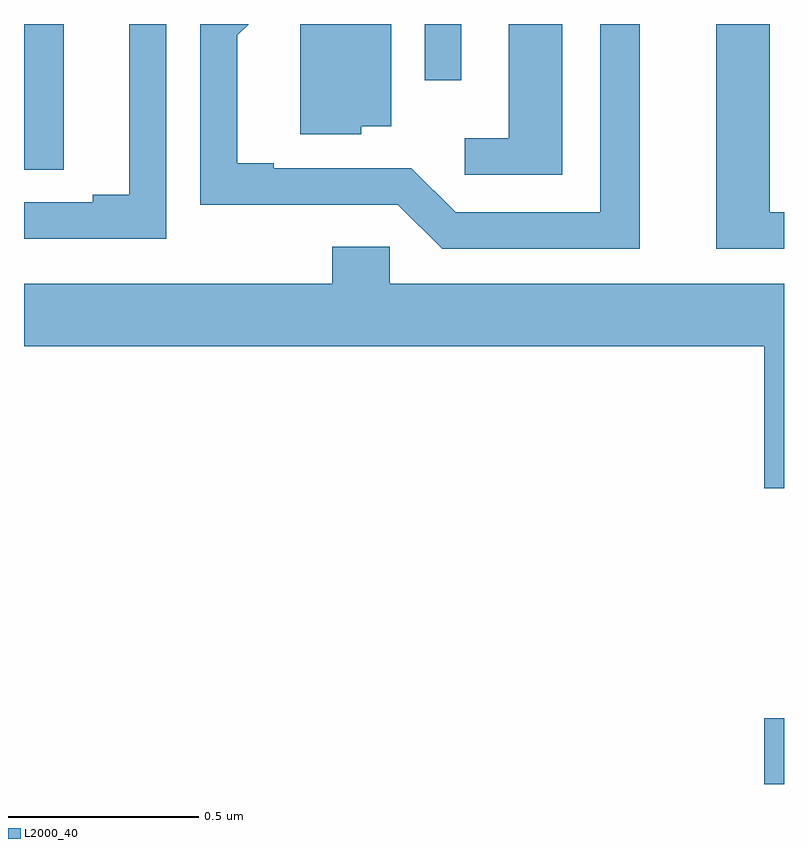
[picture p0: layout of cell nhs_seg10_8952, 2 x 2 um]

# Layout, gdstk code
import gdstk
lib = gdstk.Library(unit=1e-6, precision=1e-09)
def R(c, l, rs):  # rectangles x0, y0, x1, y1
    for r in rs: c.add(gdstk.rectangle(r[:2], r[2:], *l))
def P(c, l, *ps):  # polygons
    for p in ps: c.add(gdstk.Polygon(p, *l))
L2000_40 = (2000, 40)

nhs_seg10_8952 = lib.new_cell('nhs_seg10_8952')
R(nhs_seg10_8952, L2000_40, [(224.948,1296.5,225,1296.673), (223,1298.116,223.105,1298.5), (224.055,1298.352,224.151,1298.5)])
P(nhs_seg10_8952, L2000_40, [(224.62,1298.5),(224.516,1298.5),(224.516,1298.004),(224.136,1298.004),(224.019,1298.121),(223.657,1298.121),(223.657,1298.134),(223.561,1298.134),(223.561,1298.47),(223.591,1298.5),(223.464,1298.5),(223.464,1298.024),(223.727,1298.024),(223.727,1298.025),(223.983,1298.025),(224.1,1297.908),(224.62,1297.908)],
  [(225,1298.004),(224.962,1298.004),(224.962,1298.5),(224.822,1298.5),(224.822,1297.908),(225,1297.908)],
  [(223.374,1298.5),(223.277,1298.5),(223.277,1298.051),(223.181,1298.051),(223.181,1298.031),(223,1298.031),(223,1297.935),(223.374,1297.935)],
  [(224.416,1298.5),(224.276,1298.5),(224.276,1298.2),(224.16,1298.2),(224.16,1298.103),(224.416,1298.103)],
  [(223.887,1298.231),(223.966,1298.231),(223.966,1298.5),(223.727,1298.5),(223.727,1298.21),(223.887,1298.21)],
  [(225,1297.816),(223.962,1297.816),(223.962,1297.914),(223.811,1297.914),(223.811,1297.816),(223,1297.816),(223,1297.652),(224.948,1297.652),(224.948,1297.278),(225,1297.278)])

lib.write_gds('nhs_seg10_8952.gds')
